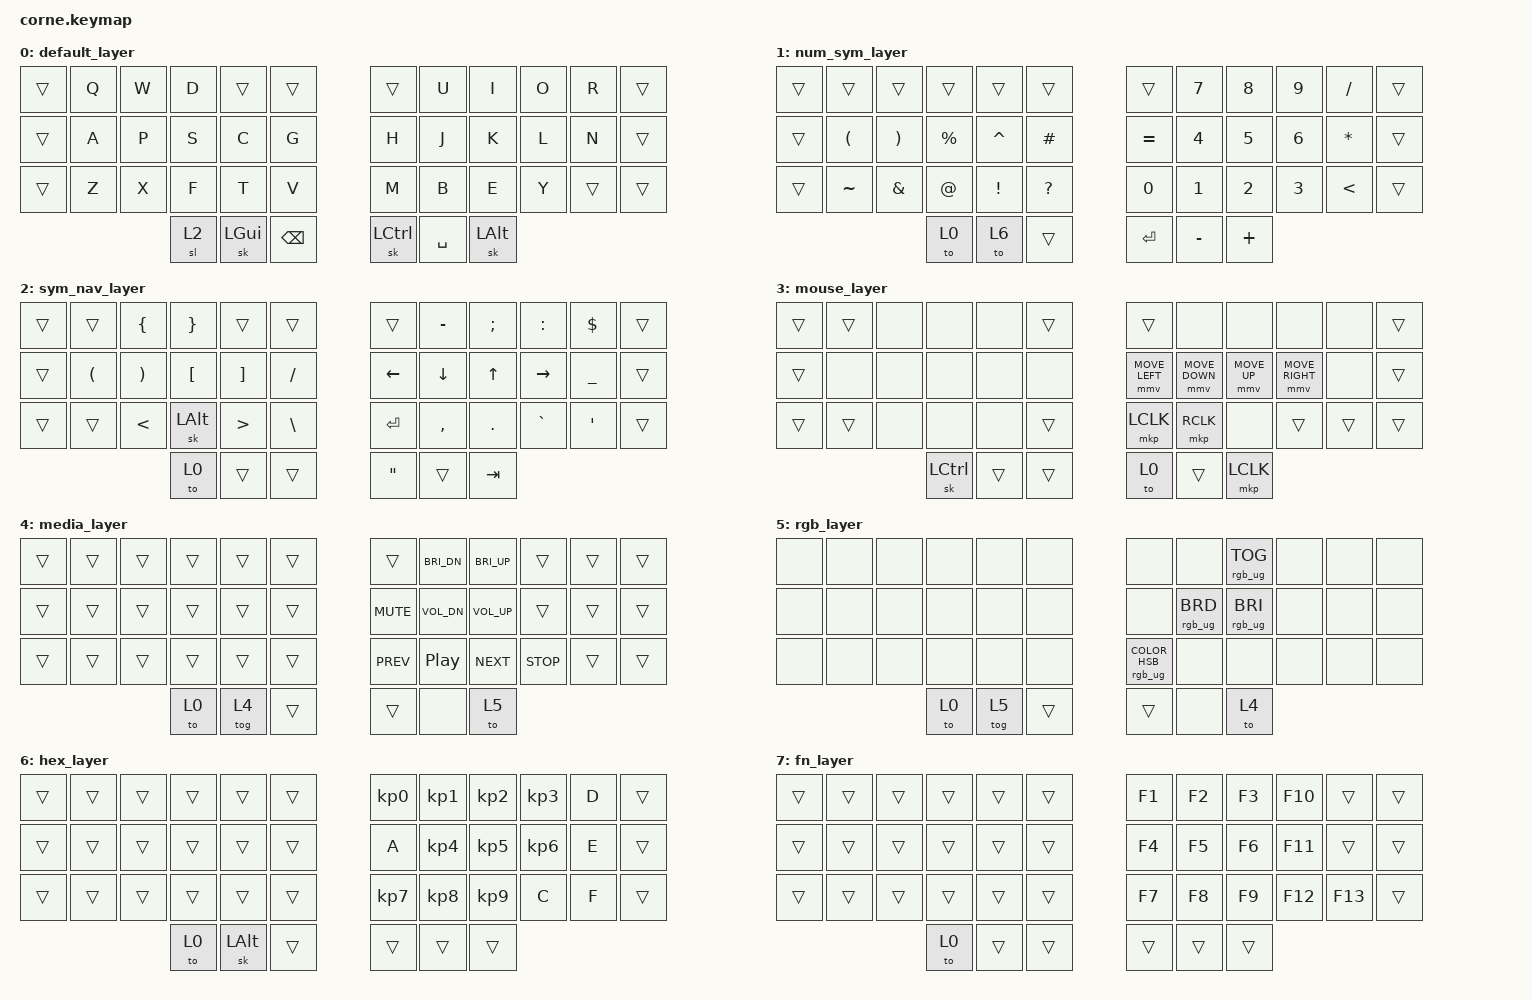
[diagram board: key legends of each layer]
/*
 * Corne 42-key shield (6x3+3 per side), outer column = &trans (not populated)
 * Ported from ZSA Moonlander QMK layout
 *
 * Key positions:
 *  0  1  2  3  4  5    6  7  8  9 10 11
 * 12 13 14 15 16 17   18 19 20 21 22 23
 * 24 25 26 27 28 29   30 31 32 33 34 35
 *             36 37 38   39 40 41
 *
 * Outer cols (0,5,6,11,12,17,18,23,24,29,30,35) = &trans (no key)
 */

#include <behaviors.dtsi>
#include <dt-bindings/zmk/keys.h>
#include <dt-bindings/zmk/rgb.h>
#include <dt-bindings/zmk/mouse.h>

/ {
    combos {
        compatible = "zmk,combos";

        // J(19) + K(20) = Escape
        combo_esc {
            timeout-ms = <50>;
            key-positions = <19 20>;
            bindings = <&kp ESC>;
        };

        // K(20) + L(21) = one-shot Meh (Ctrl+Shift+Alt)
        combo_meh {
            timeout-ms = <50>;
            key-positions = <20 21>;
            bindings = <&sk LS(LC(LALT))>;
        };

        // J(19) + L(21) = to media layer
        combo_media {
            timeout-ms = <50>;
            key-positions = <19 21>;
            bindings = <&to 4>;
        };

        // Bspc(38) + Space(39) = one-shot Shift
        combo_shift {
            timeout-ms = <50>;
            key-positions = <38 39>;
            bindings = <&sk LSHFT>;
        };

        // SL2(36) + sk(LALT)(41) = momentary layer 1 (num/sym)
        combo_num {
            timeout-ms = <50>;
            key-positions = <36 41>;
            bindings = <&mo 1>;
        };

        // J(19) + K(20) + L(21) = one-shot Shift
        combo_shift2 {
            timeout-ms = <50>;
            key-positions = <19 20 21>;
            bindings = <&sk LSHFT>;
        };

        // B(31) + Y(33) = to fn layer
        combo_fn {
            timeout-ms = <75>;
            key-positions = <31 33>;
            bindings = <&to 7>;
        };
    };

    keymap {
        compatible = "zmk,keymap";

        default_layer {
            // Layer 0 — Base
            // ╭──────┬──────┬──────┬──────┬──────┬──────╮   ╭──────┬──────┬──────┬──────┬──────┬──────╮
            // │      │   Q  │   W  │   D  │      │      │   │      │   U  │   I  │   O  │   R  │      │
            // ├──────┼──────┼──────┼──────┼──────┼──────┤   ├──────┼──────┼──────┼──────┼──────┼──────┤
            // │      │   A  │   P  │   S  │   C  │   G  │   │   H  │   J  │   K  │   L  │   N  │      │
            // ├──────┼──────┼──────┼──────┼──────┼──────┤   ├──────┼──────┼──────┼──────┼──────┼──────┤
            // │      │   Z  │   X  │   F  │   T  │   V  │   │   M  │   B  │   E  │   Y  │      │      │
            // ╰──────┴──────┴──────┼──────┼──────┼──────┤   ├──────┼──────┼──────┴──────┴──────┴──────╯
            //                      │  SL2 │ os⌘  │  BSP │   │  SPC │ os⌥  │ os⌃  │
            //                      ╰──────┴──────┴──────╯   ╰──────┴──────┴──────╯
            bindings = <
                &trans  &kp Q    &kp W    &kp D    &trans   &trans        &trans   &kp U    &kp I    &kp O    &kp R    &trans
                &trans  &kp A    &kp P    &kp S    &kp C    &kp G         &kp H    &kp J    &kp K    &kp L    &kp N    &trans
                &trans  &kp Z    &kp X    &kp F    &kp T    &kp V         &kp M    &kp B    &kp E    &kp Y    &trans   &trans
                                          &sl 2    &sk LGUI &kp BSPC      &sk LCTRL &kp SPACE &sk LALT
            >;
        };

        num_sym_layer {
            // Layer 1 — Numbers & Symbols
            // ╭──────┬──────┬──────┬──────┬──────┬──────╮   ╭──────┬──────┬──────┬──────┬──────┬──────╮
            // │      │      │      │      │      │      │   │      │   7  │   8  │   9  │   /  │      │
            // ├──────┼──────┼──────┼──────┼──────┼──────┤   ├──────┼──────┼──────┼──────┼──────┼──────┤
            // │      │   (  │   )  │   %  │   ^  │   #  │   │   =  │   4  │   5  │   6  │   *  │      │
            // ├──────┼──────┼──────┼──────┼──────┼──────┤   ├──────┼──────┼──────┼──────┼──────┼──────┤
            // │      │   ~  │   &  │   @  │   !  │   ?  │   │   0  │   1  │   2  │   3  │   <  │      │
            // ╰──────┴──────┴──────┼──────┼──────┼──────┤   ├──────┼──────┼──────┴──────┴──────┴──────╯
            //                      │  L0  │  L6  │      │   │  ENT │   -  │   +  │
            //                      ╰──────┴──────┴──────╯   ╰──────┴──────┴──────╯
            bindings = <
                &trans  &trans    &trans   &trans    &trans   &trans        &trans    &kp N7   &kp N8   &kp N9  &kp SLASH &trans
                &trans  &kp LPAR  &kp RPAR &kp PRCNT &kp CARET &kp HASH    &kp EQUAL &kp N4   &kp N5   &kp N6  &kp STAR  &trans
                &trans  &kp TILDE &kp AMPS &kp AT    &kp EXCL &kp QMARK    &kp N0    &kp N1   &kp N2   &kp N3  &kp LT    &trans
                                           &to 0     &to 6    &trans        &kp ENTER &kp MINUS &kp PLUS
            >;
        };

        sym_nav_layer {
            // Layer 2 — Symbols & Navigation
            // ╭──────┬──────┬──────┬──────┬──────┬──────╮   ╭──────┬──────┬──────┬──────┬──────┬──────╮
            // │      │      │   {  │   }  │      │      │   │      │   -  │   ;  │   :  │   $  │      │
            // ├──────┼──────┼──────┼──────┼──────┼──────┤   ├──────┼──────┼──────┼──────┼──────┼──────┤
            // │      │   (  │   )  │   [  │   ]  │   /  │   │   ←  │   ↓  │   ↑  │   →  │   _  │      │
            // ├──────┼──────┼──────┼──────┼──────┼──────┤   ├──────┼──────┼──────┼──────┼──────┼──────┤
            // │      │      │   <  │ os⌥  │   >  │   \  │   │  ENT │   ,  │   .  │   `  │   '  │      │
            // ╰──────┴──────┴──────┼──────┼──────┼──────┤   ├──────┼──────┼──────┴──────┴──────┴──────╯
            //                      │  L0  │      │      │   │   "  │      │  TAB │
            //                      ╰──────┴──────┴──────╯   ╰──────┴──────┴──────╯
            bindings = <
                &trans  &trans   &kp LBRC &kp RBRC &trans   &trans        &trans    &kp MINUS &kp SEMI  &kp COLON &kp DLLR  &trans
                &trans  &kp LPAR &kp RPAR &kp LBKT &kp RBKT &kp SLASH     &kp LEFT  &kp DOWN  &kp UP    &kp RIGHT &kp UNDER &trans
                &trans  &trans   &kp LT   &sk LALT &kp GT   &kp BSLH      &kp ENTER &kp COMMA &kp DOT   &kp GRAVE &kp SQT   &trans
                                          &to 0    &trans   &trans         &kp DQT   &trans    &kp TAB
            >;
        };

        mouse_layer {
            // Layer 3 — Mouse
            bindings = <
                &trans  &trans  &none   &none   &none   &trans        &trans         &none          &none        &none          &none   &trans
                &trans  &none   &none   &none   &none   &none         &mmv MOVE_LEFT &mmv MOVE_DOWN &mmv MOVE_UP &mmv MOVE_RIGHT &none   &trans
                &trans  &trans  &none   &none   &none   &trans        &mkp LCLK      &mkp RCLK      &none        &trans         &trans  &trans
                                        &sk LCTRL &trans &trans        &to 0          &trans         &mkp LCLK
            >;
        };

        media_layer {
            // Layer 4 — Media
            bindings = <
                &trans  &trans  &trans  &trans  &trans  &trans        &trans       &kp C_BRI_DN &kp C_BRI_UP &trans      &trans      &trans
                &trans  &trans  &trans  &trans  &trans  &trans        &kp C_MUTE   &kp C_VOL_DN &kp C_VOL_UP &trans      &trans      &trans
                &trans  &trans  &trans  &trans  &trans  &trans        &kp C_PREV   &kp C_PP     &kp C_NEXT   &kp C_STOP  &trans      &trans
                                        &to 0   &tog 4  &trans        &trans       &none        &to 5
            >;
        };

        rgb_layer {
            // Layer 5 — RGB
            bindings = <
                &none   &none   &none   &none   &none   &none         &none    &none           &rgb_ug RGB_TOG &none  &none  &none
                &none   &none   &none   &none   &none   &none         &none    &rgb_ug RGB_BRD &rgb_ug RGB_BRI &none  &none  &none
                &none   &none   &none   &none   &none   &none         &rgb_ug RGB_COLOR_HSB(0,100,33) &none &none &none &none &none
                                        &to 0   &tog 5  &trans        &trans   &none           &to 4
            >;
        };

        hex_layer {
            // Layer 6 — Hex / Numpad
            bindings = <
                &trans  &trans  &trans  &trans  &trans  &trans        &kp KP_N0 &kp KP_N1 &kp KP_N2 &kp KP_N3 &kp D  &trans
                &trans  &trans  &trans  &trans  &trans  &trans        &kp A     &kp KP_N4 &kp KP_N5 &kp KP_N6 &kp E  &trans
                &trans  &trans  &trans  &trans  &trans  &trans        &kp KP_N7 &kp KP_N8 &kp KP_N9 &kp C     &kp F  &trans
                                        &to 0   &sk LALT &trans       &trans    &trans    &trans
            >;
        };

        fn_layer {
            // Layer 7 — Function Keys
            bindings = <
                &trans  &trans  &trans  &trans  &trans  &trans        &kp F1  &kp F2  &kp F3  &kp F10  &trans   &trans
                &trans  &trans  &trans  &trans  &trans  &trans        &kp F4  &kp F5  &kp F6  &kp F11  &trans   &trans
                &trans  &trans  &trans  &trans  &trans  &trans        &kp F7  &kp F8  &kp F9  &kp F12  &kp F13  &trans
                                        &to 0   &trans  &trans        &trans  &trans  &trans
            >;
        };
    };
};
